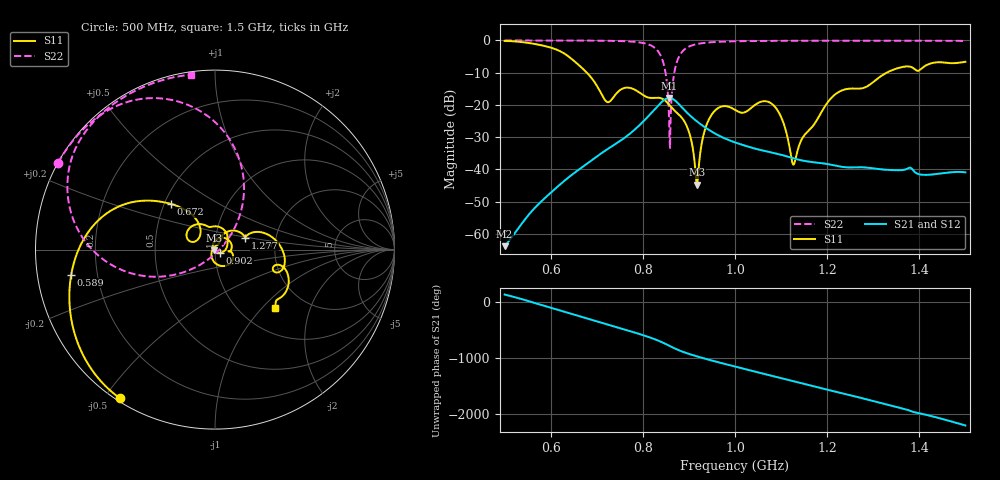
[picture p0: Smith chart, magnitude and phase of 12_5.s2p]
! TOUCHSTONE file generated by CST MICROWAVE STUDIO
! Date and time: Fri Oct  2 19:09:45 2020
! Project name: Scenario_1_Free_Space_out_of_line.cst
! Parameters = {Lambda=346.42; Step_1=17.321; dy1=156.889; dx1=866; L_HA=400; MT=2.54; Rad_Dielectric=30; Rad_Lower=7.3; Rad_Upper=30; a_HA=580; a_WG=246; b_HA=500; b_WG=121; c_HA=0; c_WG=187; d_feed=85; h_feed=15; h_lower=18; h_upper=40}
! Header version: 2018
! Port assignment regex: !\s*Touchstone port\s*([0-9]+)\s*=\s*(CST MWS port|CST DS port)\s*([0-9]+|Zmin|Zmax)\s*\(\"(.*)\"\)(\s*mode\s*([0-9]+))?.*
! Touchstone port assignment:
! Touchstone port 1 = CST MWS port 1 ("")
! Touchstone port 2 = CST MWS port 2 ("")
# GHz S DB R 50
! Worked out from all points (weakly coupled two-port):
!   1003 points, 500 MHz to 1.5 GHz, reference 50 ohm
!   highest |S21| = -17.83 dB at 857 MHz (marker M1); lowest = -63.8 dB at 500 MHz (marker M2)
!   lowest |S11| = -44.7 dB at 917 MHz (marker M3), VSWR 1.01, Z = 49.6 - j0.42 ohm
!   |S11| at or under -10 dB: 678.5 MHz to 1.329 GHz (650.6 MHz wide, 64.8 % of centre)
!   |S22| runs from -33.3 to 0.0 dB; largest |S21 - S12| = 0.00016
!   S11 on the Smith chart (normalised r, x): 500 MHz: 0.01, -0.55; 589 MHz: 0.10, -0.09; 672 MHz: 0.54, +0.32; 902 MHz: 1.06, -0.04; 1.277 GHz: 1.39, +0.19; 1.5 GHz: 1.43, -1.18
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0.5  -0.15 -122.6  -63.77 139.9  -63.77 139.9  -0.01 151.1
0.589  -1.80 -170.1  -48.65 -69.7  -48.65 -69.7  -0.02 144.9
0.667  -8.40 136.4  -39.43 100.1  -39.43 100.1  -0.04 138.3
0.672  -9.07 133.8  -38.92 88.0  -38.92 88.0  -0.05 137.8
0.723  -19.12 143.0  -33.72 -36.8  -33.72 -36.8  -0.11 131.8
0.764  -14.63 144.2  -29.80 -136.3  -29.80 -136.3  -0.26 124.4
0.834  -17.76 84.0  -20.07 32.5  -20.07 32.5  -3.54 86.2
0.848  -18.62 60.6  -18.27 -19.5  -18.27 -19.5  -9.02 62.9
0.857  -19.93 45.9  -17.83 -56.4  -17.83 -56.4  -24.43 30.8
0.875  -22.55 22.3  -19.28 -127.3  -19.28 -127.3  -6.20 -164.5
0.902  -29.23 -31.2  -23.22 151.2  -23.22 151.2  -1.78 167.2
0.917  -44.70 -133.4  -25.06 113.2  -25.06 113.2  -1.14 159.3
0.947  -23.54 72.5  -28.05 43.1  -28.05 43.1  -0.57 149.8
1  -21.52 -5.5  -31.60 -70.2  -31.60 -70.2  -0.26 140.2
1.082  -19.89 -65.2  -34.83 118.2  -34.83 118.2  -0.14 131.3
1.104  -25.11 -105.1  -35.58 71.8  -35.59 71.8  -0.12 129.4
1.127  -38.51 144.2  -36.55 24.0  -36.55 24.0  -0.11 127.4
1.167  -26.90 58.8  -37.69 -55.7  -37.69 -55.7  -0.09 124.2
1.218  -16.65 46.2  -38.82 -161.1  -38.82 -161.1  -0.09 120.2
1.277  -14.79 21.7  -39.33 79.5  -39.33 79.5  -0.09 115.8
1.334  -9.65 11.5  -40.14 -40.9  -40.14 -41.0  -0.09 111.5
1.5  -6.63 -44.1  -40.90 -45.8  -40.88 -46.1  -0.14 97.9
